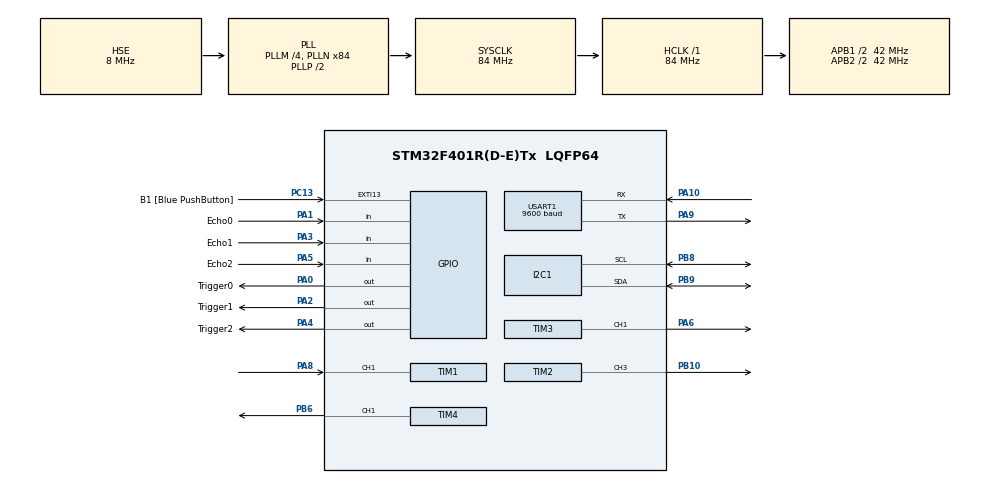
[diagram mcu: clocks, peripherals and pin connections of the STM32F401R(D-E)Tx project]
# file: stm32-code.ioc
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I2C1.I2C_Mode=I2C_Fast
Mcu.Family=STM32F4
Mcu.Name=STM32F401R(D-E)Tx
Mcu.Package=LQFP64
NVIC.PriorityGroup=NVIC_PRIORITYGROUP_0
NVIC.TIM1_CC_IRQn=true\:0\:0\:false\:false\:true\:true\:true\:true
NVIC.TIM2_IRQn=true\:0\:0\:false\:false\:true\:true\:true\:true
PA0-WKUP.GPIO_Label=Trigger0
PA0-WKUP.Signal=GPIO_Output
PA1.GPIO_Label=Echo0
PA1.Signal=GPIO_Input
PA10.Mode=Asynchronous
PA10.Signal=USART1_RX
PA13.GPIO_Label=TMS
PA13.Mode=Serial_Wire
PA13.Signal=SYS_JTMS-SWDIO
PA14.GPIO_Label=TCK
PA14.Mode=Serial_Wire
PA14.Signal=SYS_JTCK-SWCLK
PA2.GPIO_Label=Trigger1
PA2.Signal=GPIO_Output
PA3.GPIO_Label=Echo1
PA3.Signal=GPIO_Input
PA4.GPIO_Label=Trigger2
PA4.Signal=GPIO_Output
PA5.GPIO_Label=Echo2
PA5.Signal=GPIO_Input
PA6.Signal=S_TIM3_CH1
PA8.Signal=S_TIM1_CH1
PA9.Mode=Asynchronous
PA9.Signal=USART1_TX
PB10.Signal=S_TIM2_CH3
PB3.GPIO_Label=SWO
PB3.Signal=SYS_JTDO-SWO
PB6.Signal=S_TIM4_CH1
PB8.GPIO_Mode=GPIO_MODE_AF_OD
PB8.GPIO_Pu=GPIO_PULLUP
PB8.GPIO_Speed=GPIO_SPEED_FREQ_VERY_HIGH
PB8.Mode=I2C
PB8.Signal=I2C1_SCL
PB9.GPIO_Mode=GPIO_MODE_AF_OD
PB9.GPIO_Pu=GPIO_PULLUP
PB9.GPIO_Speed=GPIO_SPEED_FREQ_VERY_HIGH
PB9.Mode=I2C
PB9.Signal=I2C1_SDA
PC13-ANTI_TAMP.GPIO_Label=B1 [Blue PushButton]
PC13-ANTI_TAMP.GPIO_ModeDefaultEXTI=GPIO_MODE_IT_FALLING
PC13-ANTI_TAMP.GPIO_PuPd=GPIO_NOPULL
PC13-ANTI_TAMP.Signal=GPXTI13
PC14-OSC32_IN.Signal=RCC_OSC32_IN
PC15-OSC32_OUT.Signal=RCC_OSC32_OUT
PH0\ -\ OSC_IN.Mode=HSE-External-Oscillator
PH0\ -\ OSC_IN.Signal=RCC_OSC_IN
PH1\ -\ OSC_OUT.Mode=HSE-External-Oscillator
PH1\ -\ OSC_OUT.Signal=RCC_OSC_OUT
ProjectManager.HeapSize=0x200
ProjectManager.StackSize=0x400
ProjectManager.TargetToolchain=STM32CubeIDE
RCC.48MHZClocksFreq_Value=24000000
RCC.AHBFreq_Value=84000000
RCC.APB1CLKDivider=RCC_HCLK_DIV2
RCC.APB1Freq_Value=42000000
RCC.APB1TimFreq_Value=84000000
RCC.APB2CLKDivider=RCC_HCLK_DIV2
RCC.APB2Freq_Value=42000000
RCC.APB2TimFreq_Value=84000000
RCC.CortexFreq_Value=84000000
RCC.HCLKFreq_Value=84000000
RCC.HSE_VALUE=8000000
RCC.HSI_VALUE=16000000
RCC.LSE_VALUE=32768
RCC.PLLM=4
RCC.PLLN=84
RCC.PLLQ=7
RCC.PLLSourceVirtual=RCC_PLLSOURCE_HSE
RCC.SYSCLKFreq_VALUE=84000000
RCC.SYSCLKSource=RCC_SYSCLKSOURCE_PLLCLK
RCC.VCOOutputFreq_Value=168000000
SH.S_TIM1_CH1.0=TIM1_CH1,Input_Capture1_from_TI1
SH.S_TIM2_CH3.0=TIM2_CH3,PWM Generation3 CH3
SH.S_TIM3_CH1.0=TIM3_CH1,PWM Generation1 CH1
SH.S_TIM4_CH1.0=TIM4_CH1,PWM Generation1 CH1
TIM1.Channel-Input_Capture1_from_TI1=TIM_CHANNEL_1
TIM1.Period=10000-1
TIM1.Prescaler=84-1
TIM2.Channel-PWM\ Generation3\ CH3=TIM_CHANNEL_3
TIM2.Period=10000-1
TIM2.Prescaler=168-1
TIM3.Channel-PWM\ Generation1\ CH1=TIM_CHANNEL_1
TIM3.Period=10000-1
TIM3.Prescaler=168-1
TIM4.Channel-PWM\ Generation1\ CH1=TIM_CHANNEL_1
TIM4.Period=10000-1
TIM4.Prescaler=168-1
USART1.BaudRate=9600
USART1.VirtualMode=VM_ASYNC
VP_TIM2_VS_ClockSourceINT.Mode=Internal
VP_TIM3_VS_ClockSourceINT.Mode=Internal
VP_TIM4_VS_ClockSourceINT.Mode=Internal
board=NUCLEO-F401RE

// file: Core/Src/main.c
/* USER CODE BEGIN Header */
/**
  ******************************************************************************
  * @file           : main.c
  * @brief          : Main program body
  ******************************************************************************
  * @attention
  *
  * Copyright (c) 2024 STMicroelectronics.
  * All rights reserved.
  *
  * This software is licensed under terms that can be found in the LICENSE file
  * in the root directory of this software component.
  * If no LICENSE file comes with this software, it is provided AS-IS.
  *
  ******************************************************************************
  */
/* USER CODE END Header */
#include "main.h"

I2C_HandleTypeDef hi2c1;

TIM_HandleTypeDef htim1;
TIM_HandleTypeDef htim2;
TIM_HandleTypeDef htim3;
TIM_HandleTypeDef htim4;

UART_HandleTypeDef huart1;

void SystemClock_Config(void);
static void MX_GPIO_Init(void);
static void MX_I2C1_Init(void);
static void MX_TIM1_Init(void);
static void MX_TIM2_Init(void);
static void MX_TIM3_Init(void);
static void MX_TIM4_Init(void);
static void MX_USART1_UART_Init(void);
/* USER CODE BEGIN PFP */
#define TRIG_PIN GPIO_PIN_0
#define TRIG_PORT GPIOA

// Distance values for each sensor
uint32_t IC_Val1 = 0;
uint32_t IC_Val2 = 0;
uint32_t Difference = 0;
uint8_t Is_First_Captured = 0;  // is the first value captured ?
uint8_t Distance  = 0;

// Let's write the callback function

void delay(uint16_t time) {
	__HAL_TIM_SET_COUNTER(&htim1, 0);
	while(__HAL_TIM_GET_COUNTER (&htim1) < time);

}

void HAL_TIM_IC_CaptureCallback(TIM_HandleTypeDef *htim)
{
	if (htim->Channel == HAL_TIM_ACTIVE_CHANNEL_1)  // if the interrupt source is channel1
	{
		if (Is_First_Captured==0) // if the first value is not captured
		{
			IC_Val1 = HAL_TIM_ReadCapturedValue(htim, TIM_CHANNEL_1); // read the first value
			Is_First_Captured = 1;  // set the first captured as true
			// Now change the polarity to falling edge
			__HAL_TIM_SET_CAPTUREPOLARITY(htim, TIM_CHANNEL_1, TIM_INPUTCHANNELPOLARITY_FALLING);
		}

		else if (Is_First_Captured==1)   // if the first is already captured
		{
			IC_Val2 = HAL_TIM_ReadCapturedValue(htim, TIM_CHANNEL_1);  // read second value
			__HAL_TIM_SET_COUNTER(htim, 0);  // reset the counter

			if (IC_Val2 > IC_Val1)
			{
				Difference = IC_Val2-IC_Val1;
			}

			else if (IC_Val1 > IC_Val2)
			{
				Difference = (0xffff - IC_Val1) + IC_Val2;
			}

			Distance = Difference * .034/2;
			Is_First_Captured = 0; // set it back to false

			// set polarity to rising edge
			__HAL_TIM_SET_CAPTUREPOLARITY(htim, TIM_CHANNEL_1, TIM_INPUTCHANNELPOLARITY_RISING);
			__HAL_TIM_DISABLE_IT(&htim1, TIM_IT_CC1);
		}
	}
}

void HCSR04_Read (void)
{
	HAL_GPIO_WritePin(TRIG_PORT, TRIG_PIN, GPIO_PIN_SET);  // pull the TRIG pin HIGH
	delay(10);  // wait for 10 us
	HAL_GPIO_WritePin(TRIG_PORT, TRIG_PIN, GPIO_PIN_RESET);  // pull the TRIG pin low

	__HAL_TIM_ENABLE_IT(&htim1, TIM_IT_CC1);
}

/* USER CODE END PFP */

/* USER CODE BEGIN 0 */

uint8_t receivedData[1];

/* USER CODE END 0 */

int main(void)
{

  /* MCU Configuration--------------------------------------------------------*/

  /* Reset of all peripherals, Initializes the Flash interface and the Systick. */
  HAL_Init();

  /* Configure the system clock */
  SystemClock_Config();

  /* Initialize all configured peripherals */
  MX_GPIO_Init();
  MX_I2C1_Init();
  MX_TIM1_Init();
  MX_TIM2_Init();
  MX_TIM3_Init();
  MX_TIM4_Init();
  MX_USART1_UART_Init();
  /* USER CODE BEGIN 2 */
  HAL_TIM_IC_Start_IT(&htim1, TIM_CHANNEL_1);

  HAL_TIM_PWM_Start(&htim2, TIM_CHANNEL_3);
  HAL_TIM_PWM_Start(&htim3, TIM_CHANNEL_1);
  HAL_TIM_PWM_Start(&htim4, TIM_CHANNEL_1);

//  lcd_init();
//  int num = 1234;
//  char numChar[5];
//  sprintf(numChar, "%d", num);
//  lcd_put_cur(0, 0);
//  lcd_send_string (numChar);

  Display1_Init(2);
  Display2_Init(2);
  Display3_Init(2);

  Display1_Clear();
  Display1_SetCursor(0,0);
  Display1_PrintStr("DISPLAY 1");

  Display2_Clear();
  Display2_SetCursor(0,0);
  Display2_PrintStr("20%");

  Display3_Clear();
  Display3_SetCursor(0,0);
  Display3_PrintStr("70%");

  /* USER CODE END 2 */

  /* Infinite loop */
  /* USER CODE BEGIN WHILE */

  uint8_t receivedData[1];
  int count = 0; // this will represent the button pressed

  while (1)
  {
    /* USER CODE END WHILE */

    /* USER CODE BEGIN 3 */
      HCSR04_Read();
      HAL_Delay(200); // Small delay to avoid overlap
      char distanceStr[20];
      int DistanceCalculated = (int)(((30.0f-Distance) / 30.0f) * 100); // Calculate percentage as an integer

      // Use %d to print the integer followed by the percentage sign
      sprintf(distanceStr, "%d%%", DistanceCalculated);

      Display1_Clear();
      Display1_PrintStr(distanceStr);

	    /* USER CODE END WHILE */

	/* USER CODE BEGIN 3 */

    /* USER CODE BEGIN 3 */
  }
  /* USER CODE END 3 */
}

void SystemClock_Config(void)
{
  RCC_OscInitTypeDef RCC_OscInitStruct = {0};
  RCC_ClkInitTypeDef RCC_ClkInitStruct = {0};

  /** Configure the main internal regulator output voltage
  */
  __HAL_RCC_PWR_CLK_ENABLE();
  __HAL_PWR_VOLTAGESCALING_CONFIG(PWR_REGULATOR_VOLTAGE_SCALE2);

  /** Initializes the RCC Oscillators according to the specified parameters
  * in the RCC_OscInitTypeDef structure.
  */
  RCC_OscInitStruct.OscillatorType = RCC_OSCILLATORTYPE_HSE;
  RCC_OscInitStruct.HSEState = RCC_HSE_ON;
  RCC_OscInitStruct.PLL.PLLState = RCC_PLL_ON;
  RCC_OscInitStruct.PLL.PLLSource = RCC_PLLSOURCE_HSE;
  RCC_OscInitStruct.PLL.PLLM = 4;
  RCC_OscInitStruct.PLL.PLLN = 84;
  RCC_OscInitStruct.PLL.PLLP = RCC_PLLP_DIV2;
  RCC_OscInitStruct.PLL.PLLQ = 7;
  if (HAL_RCC_OscConfig(&RCC_OscInitStruct) != HAL_OK)
  {
    Error_Handler();
  }

  /** Initializes the CPU, AHB and APB buses clocks
  */
  RCC_ClkInitStruct.ClockType = RCC_CLOCKTYPE_HCLK|RCC_CLOCKTYPE_SYSCLK
                              |RCC_CLOCKTYPE_PCLK1|RCC_CLOCKTYPE_PCLK2;
  RCC_ClkInitStruct.SYSCLKSource = RCC_SYSCLKSOURCE_PLLCLK;
  RCC_ClkInitStruct.AHBCLKDivider = RCC_SYSCLK_DIV1;
  RCC_ClkInitStruct.APB1CLKDivider = RCC_HCLK_DIV2;
  RCC_ClkInitStruct.APB2CLKDivider = RCC_HCLK_DIV2;

  if (HAL_RCC_ClockConfig(&RCC_ClkInitStruct, FLASH_LATENCY_2) != HAL_OK)
  {
    Error_Handler();
  }
}

static void MX_I2C1_Init(void)
{

  hi2c1.Instance = I2C1;
  hi2c1.Init.ClockSpeed = 400000;
  hi2c1.Init.DutyCycle = I2C_DUTYCYCLE_2;
  hi2c1.Init.OwnAddress1 = 0;
  hi2c1.Init.AddressingMode = I2C_ADDRESSINGMODE_7BIT;
  hi2c1.Init.DualAddressMode = I2C_DUALADDRESS_DISABLE;
  hi2c1.Init.OwnAddress2 = 0;
  hi2c1.Init.GeneralCallMode = I2C_GENERALCALL_DISABLE;
  hi2c1.Init.NoStretchMode = I2C_NOSTRETCH_DISABLE;
  if (HAL_I2C_Init(&hi2c1) != HAL_OK)
  {
    Error_Handler();
  }

}

static void MX_TIM1_Init(void)
{

  TIM_MasterConfigTypeDef sMasterConfig = {0};
  TIM_IC_InitTypeDef sConfigIC = {0};

  htim1.Instance = TIM1;
  htim1.Init.Prescaler = 84-1;
  htim1.Init.CounterMode = TIM_COUNTERMODE_UP;
  htim1.Init.Period = 10000-1;
  htim1.Init.ClockDivision = TIM_CLOCKDIVISION_DIV1;
  htim1.Init.RepetitionCounter = 0;
  htim1.Init.AutoReloadPreload = TIM_AUTORELOAD_PRELOAD_DISABLE;
  if (HAL_TIM_IC_Init(&htim1) != HAL_OK)
  {
    Error_Handler();
  }
  sMasterConfig.MasterOutputTrigger = TIM_TRGO_RESET;
  sMasterConfig.MasterSlaveMode = TIM_MASTERSLAVEMODE_DISABLE;
  if (HAL_TIMEx_MasterConfigSynchronization(&htim1, &sMasterConfig) != HAL_OK)
  {
    Error_Handler();
  }
  sConfigIC.ICPolarity = TIM_INPUTCHANNELPOLARITY_RISING;
  sConfigIC.ICSelection = TIM_ICSELECTION_DIRECTTI;
  sConfigIC.ICPrescaler = TIM_ICPSC_DIV1;
  sConfigIC.ICFilter = 0;
  if (HAL_TIM_IC_ConfigChannel(&htim1, &sConfigIC, TIM_CHANNEL_1) != HAL_OK)
  {
    Error_Handler();
  }

}

static void MX_TIM2_Init(void)
{

  TIM_ClockConfigTypeDef sClockSourceConfig = {0};
  TIM_MasterConfigTypeDef sMasterConfig = {0};
  TIM_OC_InitTypeDef sConfigOC = {0};

  htim2.Instance = TIM2;
  htim2.Init.Prescaler = 168-1;
  htim2.Init.CounterMode = TIM_COUNTERMODE_UP;
  htim2.Init.Period = 10000-1;
  htim2.Init.ClockDivision = TIM_CLOCKDIVISION_DIV1;
  htim2.Init.AutoReloadPreload = TIM_AUTORELOAD_PRELOAD_DISABLE;
  if (HAL_TIM_Base_Init(&htim2) != HAL_OK)
  {
    Error_Handler();
  }
  sClockSourceConfig.ClockSource = TIM_CLOCKSOURCE_INTERNAL;
  if (HAL_TIM_ConfigClockSource(&htim2, &sClockSourceConfig) != HAL_OK)
  {
    Error_Handler();
  }
  if (HAL_TIM_PWM_Init(&htim2) != HAL_OK)
  {
    Error_Handler();
  }
  sMasterConfig.MasterOutputTrigger = TIM_TRGO_RESET;
  sMasterConfig.MasterSlaveMode = TIM_MASTERSLAVEMODE_DISABLE;
  if (HAL_TIMEx_MasterConfigSynchronization(&htim2, &sMasterConfig) != HAL_OK)
  {
    Error_Handler();
  }
  sConfigOC.OCMode = TIM_OCMODE_PWM1;
  sConfigOC.Pulse = 0;
  sConfigOC.OCPolarity = TIM_OCPOLARITY_HIGH;
  sConfigOC.OCFastMode = TIM_OCFAST_DISABLE;
  if (HAL_TIM_PWM_ConfigChannel(&htim2, &sConfigOC, TIM_CHANNEL_3) != HAL_OK)
  {
    Error_Handler();
  }
  HAL_TIM_MspPostInit(&htim2);

}

static void MX_TIM3_Init(void)
{

  TIM_ClockConfigTypeDef sClockSourceConfig = {0};
  TIM_MasterConfigTypeDef sMasterConfig = {0};
  TIM_OC_InitTypeDef sConfigOC = {0};

  htim3.Instance = TIM3;
  htim3.Init.Prescaler = 168-1;
  htim3.Init.CounterMode = TIM_COUNTERMODE_UP;
  htim3.Init.Period = 10000-1;
  htim3.Init.ClockDivision = TIM_CLOCKDIVISION_DIV1;
  htim3.Init.AutoReloadPreload = TIM_AUTORELOAD_PRELOAD_DISABLE;
  if (HAL_TIM_Base_Init(&htim3) != HAL_OK)
  {
    Error_Handler();
  }
  sClockSourceConfig.ClockSource = TIM_CLOCKSOURCE_INTERNAL;
  if (HAL_TIM_ConfigClockSource(&htim3, &sClockSourceConfig) != HAL_OK)
  {
    Error_Handler();
  }
  if (HAL_TIM_PWM_Init(&htim3) != HAL_OK)
  {
    Error_Handler();
  }
  sMasterConfig.MasterOutputTrigger = TIM_TRGO_RESET;
  sMasterConfig.MasterSlaveMode = TIM_MASTERSLAVEMODE_DISABLE;
  if (HAL_TIMEx_MasterConfigSynchronization(&htim3, &sMasterConfig) != HAL_OK)
  {
    Error_Handler();
  }
  sConfigOC.OCMode = TIM_OCMODE_PWM1;
  sConfigOC.Pulse = 0;
  sConfigOC.OCPolarity = TIM_OCPOLARITY_HIGH;
  sConfigOC.OCFastMode = TIM_OCFAST_DISABLE;
  if (HAL_TIM_PWM_ConfigChannel(&htim3, &sConfigOC, TIM_CHANNEL_1) != HAL_OK)
  {
    Error_Handler();
  }
  HAL_TIM_MspPostInit(&htim3);

}

static void MX_TIM4_Init(void)
{

  TIM_ClockConfigTypeDef sClockSourceConfig = {0};
  TIM_MasterConfigTypeDef sMasterConfig = {0};
  TIM_OC_InitTypeDef sConfigOC = {0};

  htim4.Instance = TIM4;
  htim4.Init.Prescaler = 168-1;
  htim4.Init.CounterMode = TIM_COUNTERMODE_UP;
  htim4.Init.Period = 10000-1;
  htim4.Init.ClockDivision = TIM_CLOCKDIVISION_DIV1;
  htim4.Init.AutoReloadPreload = TIM_AUTORELOAD_PRELOAD_DISABLE;
  if (HAL_TIM_Base_Init(&htim4) != HAL_OK)
  {
    Error_Handler();
  }
  sClockSourceConfig.ClockSource = TIM_CLOCKSOURCE_INTERNAL;
  if (HAL_TIM_ConfigClockSource(&htim4, &sClockSourceConfig) != HAL_OK)
  {
    Error_Handler();
  }
  if (HAL_TIM_PWM_Init(&htim4) != HAL_OK)
  {
    Error_Handler();
  }
  sMasterConfig.MasterOutputTrigger = TIM_TRGO_RESET;
  sMasterConfig.MasterSlaveMode = TIM_MASTERSLAVEMODE_DISABLE;
  if (HAL_TIMEx_MasterConfigSynchronization(&htim4, &sMasterConfig) != HAL_OK)
  {
    Error_Handler();
  }
  sConfigOC.OCMode = TIM_OCMODE_PWM1;
  sConfigOC.Pulse = 0;
  sConfigOC.OCPolarity = TIM_OCPOLARITY_HIGH;
  sConfigOC.OCFastMode = TIM_OCFAST_DISABLE;
  if (HAL_TIM_PWM_ConfigChannel(&htim4, &sConfigOC, TIM_CHANNEL_1) != HAL_OK)
  {
    Error_Handler();
  }
  HAL_TIM_MspPostInit(&htim4);

}

static void MX_USART1_UART_Init(void)
{

  huart1.Instance = USART1;
  huart1.Init.BaudRate = 9600;
  huart1.Init.WordLength = UART_WORDLENGTH_8B;
  huart1.Init.StopBits = UART_STOPBITS_1;
  huart1.Init.Parity = UART_PARITY_NONE;
  huart1.Init.Mode = UART_MODE_TX_RX;
  huart1.Init.HwFlowCtl = UART_HWCONTROL_NONE;
  huart1.Init.OverSampling = UART_OVERSAMPLING_16;
  if (HAL_UART_Init(&huart1) != HAL_OK)
  {
    Error_Handler();
  }

}

static void MX_GPIO_Init(void)
{
  GPIO_InitTypeDef GPIO_InitStruct = {0};

  /* GPIO Ports Clock Enable */
  __HAL_RCC_GPIOC_CLK_ENABLE();
  __HAL_RCC_GPIOH_CLK_ENABLE();
  __HAL_RCC_GPIOA_CLK_ENABLE();
  __HAL_RCC_GPIOB_CLK_ENABLE();

  /*Configure GPIO pin Output Level */
  HAL_GPIO_WritePin(GPIOA, Trigger0_Pin|Trigger1_Pin|Trigger2_Pin, GPIO_PIN_RESET);

  /*Configure GPIO pin : B1_Pin */
  GPIO_InitStruct.Pin = B1_Pin;
  GPIO_InitStruct.Mode = GPIO_MODE_IT_FALLING;
  GPIO_InitStruct.Pull = GPIO_NOPULL;
  HAL_GPIO_Init(B1_GPIO_Port, &GPIO_InitStruct);

  /*Configure GPIO pins : Trigger0_Pin Trigger1_Pin Trigger2_Pin */
  GPIO_InitStruct.Pin = Trigger0_Pin|Trigger1_Pin|Trigger2_Pin;
  GPIO_InitStruct.Mode = GPIO_MODE_OUTPUT_PP;
  GPIO_InitStruct.Pull = GPIO_NOPULL;
  GPIO_InitStruct.Speed = GPIO_SPEED_FREQ_LOW;
  HAL_GPIO_Init(GPIOA, &GPIO_InitStruct);

  /*Configure GPIO pins : Echo0_Pin Echo1_Pin Echo2_Pin */
  GPIO_InitStruct.Pin = Echo0_Pin|Echo1_Pin|Echo2_Pin;
  GPIO_InitStruct.Mode = GPIO_MODE_INPUT;
  GPIO_InitStruct.Pull = GPIO_NOPULL;
  HAL_GPIO_Init(GPIOA, &GPIO_InitStruct);

}

void Error_Handler(void)
{
  __disable_irq();
  while (1)
  {
  }
}
